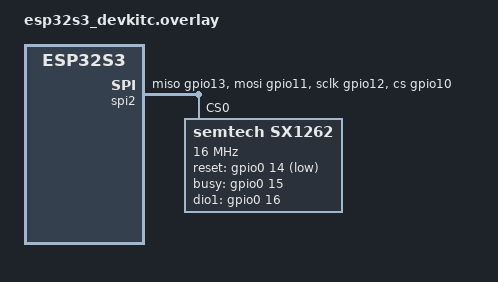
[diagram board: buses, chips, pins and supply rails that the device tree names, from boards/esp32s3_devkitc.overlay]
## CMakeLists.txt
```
# SPDX-License-Identifier: MIT

cmake_minimum_required(VERSION 3.20.0)

find_package(Zephyr REQUIRED HINTS $ENV{ZEPHYR_BASE})
project(aether_basic)

if(CONF_FILE MATCHES "prj_minimal.conf")
    target_sources(app PRIVATE src/main_minimal.c)
elseif(CONF_FILE MATCHES "prj_heymac.conf")
    target_sources(app PRIVATE src/main_heymac.c)
else()
    target_sources(app PRIVATE src/main.c)
endif()
```

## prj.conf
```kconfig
# Basic Zephyr configuration
CONFIG_MAIN_STACK_SIZE=2048
CONFIG_SYSTEM_WORKQUEUE_STACK_SIZE=2048

# Networking core
CONFIG_NETWORKING=y
CONFIG_NET_L2_CUSTOM=y

# Enable HeyMac Layer 2
CONFIG_NET_L2_HEYMAC=y

# Enable Æther mesh networking
CONFIG_AETHER_MESH=y

# Enable LoRa driver integration
CONFIG_AETHER_LORA=y
CONFIG_AETHER_LORA_TX_POWER=5
CONFIG_AETHER_LORA_BW=0
CONFIG_AETHER_LORA_SF=10
CONFIG_AETHER_LORA_CR=1

# LoRa driver with SX126X support (but disable LoRaWAN)
CONFIG_LORA=y
CONFIG_LORA_SX126X=y
CONFIG_LORA_INIT_PRIORITY=80
CONFIG_SPI=y

# Explicitly disable LoRaWAN subsystem 
CONFIG_LORAWAN=n

# ESP32-S3 specific thread stack sizes
CONFIG_AETHER_RX_STACK_SIZE=4096
CONFIG_AETHER_TX_STACK_SIZE=4096

# Shell support for debugging
CONFIG_SHELL=y
CONFIG_AETHER_SHELL=y
CONFIG_DEVICE_SHELL=y

# Logging
CONFIG_LOG=y
CONFIG_LOG_MODE_IMMEDIATE=y
CONFIG_NET_LOG=y
CONFIG_NET_L2_HEYMAC_LOG_LEVEL=4
CONFIG_AETHER_MESH_LOG_LEVEL=4
CONFIG_AETHER_LORA_LOG_LEVEL=4
CONFIG_LORA_LOG_LEVEL_DBG=y

# Network interface debugging
CONFIG_NET_IF_LOG_LEVEL_DBG=y

# GPIO for reset/control pins
CONFIG_GPIO=y

# Optional: Enable more debug features
# CONFIG_DEBUG=y
# CONFIG_ASSERT=y
# CONFIG_THREAD_MONITOR=y
# CONFIG_THREAD_NAME=y
# CONFIG_THREAD_STACK_INFO=y
```

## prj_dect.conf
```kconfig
# DECT NR+ PHY build of the Æther basic sample (nRF9151 DK / Thingy:91 X).
# Build: west build -b nrf9151dk/nrf9151/ns -- -DCONF_FILE=prj_dect.conf
#
# The DECT NR+ PHY operates on regulated channels. Only enable a carrier if you are
# permitted to operate on the DECT band and can meet local access rules.

# Basic Zephyr configuration
CONFIG_MAIN_STACK_SIZE=4096
CONFIG_SYSTEM_WORKQUEUE_STACK_SIZE=2048
CONFIG_FPU=y
CONFIG_ASSERT=y
CONFIG_HEAP_MEM_POOL_SIZE=16384

# Networking core + custom L2. The Æther mesh is a custom L2 (HeyMac), not
# IP-routed, but the net stack still requires a packet protocol to be selected
# (net_pkt.c errors otherwise). So leave IPv6 enabled but turn off its
# housekeeping (Neighbor Discovery / Router Solicitation / DAD / MLD) so it
# stays silent and doesn't waste DECT airtime.
CONFIG_NETWORKING=y
CONFIG_NET_L2_CUSTOM=y
CONFIG_NET_IPV6_ND=n
CONFIG_NET_IPV6_DAD=n
CONFIG_NET_IPV6_MLD=n

# net_pkt / net_buf pools
CONFIG_NET_PKT_RX_COUNT=8
CONFIG_NET_PKT_TX_COUNT=8
CONFIG_NET_BUF_RX_COUNT=16
CONFIG_NET_BUF_TX_COUNT=16

# HeyMac L2 + Æther mesh
CONFIG_NET_L2_HEYMAC=y
CONFIG_AETHER_MESH=y

# DECT NR+ PHY driver integration.
# Carrier 1677 is a common EU value; set it per your region (1711 is common US).
CONFIG_AETHER_DECT=y
CONFIG_AETHER_DECT_CARRIER=1677
CONFIG_AETHER_DECT_TX_POWER=11
CONFIG_AETHER_DECT_MCS=1
# Absorb start-up TX bursts so net bring-up doesn't overflow the queue.
CONFIG_AETHER_DECT_TX_QUEUE_SIZE=8

# DECT NR+ PHY modem
CONFIG_NRF_MODEM_LIB=y
CONFIG_NRF_MODEM_LINK_BINARY_DECT_PHY=y
CONFIG_MODEM_ANTENNA=n
CONFIG_HWINFO=y

# Non-secure target: build as a non-secure image with TF-M (minimal profile)
CONFIG_TFM_PROFILE_TYPE_MINIMAL=y

# Shell for debugging. The sample registers the 'aether' command group (chat,
# status, send) in main.c, and the DECT driver registers the 'dect' group, so
# the module's own AETHER_SHELL is left off to avoid a duplicate 'aether' root.
CONFIG_SHELL=y
CONFIG_AETHER_SHELL=n
CONFIG_DEVICE_SHELL=y

# Logging. INF keeps the milestones (PHY ready, mesh ready, chat, election);
# DBG was very noisy (the DECT RX window logs once per ~200 ms cycle).
CONFIG_LOG=y
CONFIG_NET_L2_HEYMAC_LOG_LEVEL=3
CONFIG_AETHER_MESH_LOG_LEVEL=3
CONFIG_AETHER_DECT_LOG_LEVEL=3
```

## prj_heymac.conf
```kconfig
# Basic Zephyr configuration
CONFIG_MAIN_STACK_SIZE=2048
CONFIG_SYSTEM_WORKQUEUE_STACK_SIZE=2048

# SX126x driver
CONFIG_LORA=y
CONFIG_LORA_SX126X=y
CONFIG_LORA_INIT_PRIORITY=80
CONFIG_SPI=y

# Shell support for debugging
CONFIG_SHELL=y
CONFIG_DEVICE_SHELL=y

# Logging
CONFIG_LOG=y
CONFIG_LOG_MODE_IMMEDIATE=y
CONFIG_LORA_LOG_LEVEL_DBG=y

# GPIO for reset/control pins
CONFIG_GPIO=y
```

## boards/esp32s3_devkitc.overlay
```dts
/*
 * Copyright (c) 2025 Æther authors
 *
 * SPDX-License-Identifier: Apache-2.0
 */

/ {
	chosen {
		zephyr,lora = &sx1262;
	};
};

/* Configure SPI2 with ESP32-S3 GPIO matrix */
&spi2 {
	status = "okay";
	
	/* ESP32-S3 typical SPI pins - adjust to match your wiring */
	pinctrl-0 = <&spi2_miso_gpio13 &spi2_mosi_gpio11 
		     &spi2_sclk_gpio12 &spi2_cs_gpio10>;
	pinctrl-names = "default";
	
	/* Attach the SX1262 to this SPI bus */
	#address-cells = <1>;
	#size-cells = <0>;
	
	sx1262: sx1262@0 {
		compatible = "semtech,sx1262";
		status = "okay";
		spi-max-frequency = <16000000>;
		reg = <0>;
		
		reset-gpios = <&gpio0 14 GPIO_ACTIVE_LOW>;
		busy-gpios = <&gpio0 15 GPIO_ACTIVE_HIGH>;
		dio1-gpios = <&gpio0 16 GPIO_ACTIVE_HIGH>;
		
		power-amplifier-output = "pa-boost";
	};
};
```

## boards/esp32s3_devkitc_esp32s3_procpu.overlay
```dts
/*
 * Copyright (c) 2025 Æther authors
 *
 * SPDX-License-Identifier: MIT
 */

/ {
	chosen {
		zephyr,lora = &sx1262;
	};
	
	aliases {
		lora0 = &sx1262;
	};
};

/* SPI2 pinctrl configuration */
&pinctrl {
	spi2_default: spi2_default {
		group1 {
			pinmux = <SPIM2_MISO_GPIO13>,
				 <SPIM2_MOSI_GPIO11>,
				 <SPIM2_SCLK_GPIO12>;
		};
	};
};

/* Configure SPI2 with ESP32-S3 GPIO matrix */
&spi2 {
	status = "okay";
	pinctrl-0 = <&spi2_default>;
	pinctrl-names = "default";
	cs-gpios = <&gpio0 10 GPIO_ACTIVE_LOW>;
	
	/* Attach the SX1262 to this SPI bus */
	#address-cells = <1>;
	#size-cells = <0>;
	
	sx1262: sx1262@0 {
		compatible = "semtech,sx1262";
		status = "okay";
		spi-max-frequency = <8000000>;
		reg = <0>;
		
		/* SX1262 control pins */
		reset-gpios = <&gpio0 9 GPIO_ACTIVE_LOW>;
		busy-gpios = <&gpio0 3 GPIO_ACTIVE_HIGH>;
		dio1-gpios = <&gpio0 8 GPIO_ACTIVE_HIGH>;
		
		/* Antenna switch control - disabled for testing */
		/* rx-enable-gpios = <&gpio0 19 GPIO_ACTIVE_HIGH>; */
	};
};
```

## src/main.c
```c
/*
 * Copyright (c) 2025 Æther Authors
 *
 * SPDX-License-Identifier: MIT
 */

#include <zephyr/kernel.h>
#include <zephyr/net/net_if.h>
#include <zephyr/net/heymac.h>
#include <zephyr/net/aether_mesh.h>
#include <zephyr/net/honr.h>
#include <zephyr/logging/log.h>
#include <zephyr/shell/shell.h>

LOG_MODULE_REGISTER(aether_basic, LOG_LEVEL_INF);

#include <string.h>
#include <stdio.h>
#include <zephyr/shell/shell_uart.h>

/* Mesh context, for detailed status (defined in aether_mesh.c). */
extern struct aether_mesh_ctx *g_mesh_ctx;

static struct net_if *aether_iface;

/* Per-node shell prompt, e.g. "ae 1a:2b> ", set once the address is known. */
static char node_prompt[16];

static const char *heymac_state_name(enum heymac_state state)
{
	switch (state) {
	case HEYMAC_STATE_INITIAL:      return "INITIAL";
	case HEYMAC_STATE_INITIALIZING: return "INITIALIZING";
	case HEYMAC_STATE_LURKING:      return "LURKING";
	case HEYMAC_STATE_BEACONING:    return "BEACONING";
	case HEYMAC_STATE_LINKING:      return "LINKING";
	default:                        return "?";
	}
}

/* Party-line broadcast address: every node receives and re-floods. */
static const uint8_t aether_bcast[6] = {0xff, 0xff, 0xff, 0xff, 0xff, 0xff};

/* Party-line chat receive callback: print each incoming message to the
 * console. Runs in the mesh RX thread; printk is used so the line appears
 * regardless of which shell instance (if any) issued a command.
 */
static void chat_recv_cb(struct net_if *iface, const uint8_t src[6],
			 const uint8_t *data, size_t len, void *user_data)
{
	ARG_UNUSED(iface);
	ARG_UNUSED(user_data);

	/* Identify the talker by the last two address bytes. */
	printk("\n<chat %02x:%02x> %.*s\n", src[4], src[5], (int)len, (const char *)data);
}

static void print_status(void)
{
	struct heymac_addr addr;
	int net_id;
	int neighbor_count, route_count;

	if (!aether_iface) {
		LOG_ERR("Æther interface not available");
		return;
	}

	/* Get HeyMac status */
	if (heymac_get_addr(aether_iface, &addr) == 0) {
		if (heymac_addr_is_short(&addr)) {
			LOG_INF("Local address: %02x:%02x (short)",
				addr.short_addr[0], addr.short_addr[1]);
		} else {
			LOG_INF("Local address: %02x:%02x:%02x:%02x:%02x:%02x (long)",
				addr.long_addr[0], addr.long_addr[1], addr.long_addr[2],
				addr.long_addr[3], addr.long_addr[4], addr.long_addr[5]);
		}
	}

	net_id = heymac_get_network_id(aether_iface);
	if (net_id >= 0) {
		LOG_INF("Network ID: 0x%04x", net_id);
	}

	/* Get mesh status */
	neighbor_count = aether_mesh_get_neighbor_count(aether_iface);
	route_count = aether_mesh_get_route_count(aether_iface);
	
	LOG_INF("Mesh status: %d neighbors, %d routes", neighbor_count, route_count);
}

static void periodic_hello(void)
{
	if (aether_iface) {
		aether_mesh_send_hello(aether_iface);
		LOG_DBG("Periodic hello sent");
	}
}

int main(void)
{
	int ret;
	uint32_t hello_count = 0;

	/* Very early debug to test logging */
	printk("=== MAIN STARTING ===\n");
	LOG_INF("Æther Basic Node Starting");

	/* Wait for network interface to be available */
	aether_iface = net_if_get_default();
	if (!aether_iface) {
		LOG_ERR("No network interface available");
		
		/* List all available interfaces for debugging */
		int count = 0;
		STRUCT_SECTION_FOREACH(net_if, iface) {
			LOG_INF("Found interface %d: %p", count, iface);
			count++;
		}
		LOG_INF("Total interfaces found: %d", count);
		
		return -ENODEV;
	}
	
	LOG_INF("Found default interface: %p", aether_iface);

	/* Bring up the network interface */
	LOG_INF("Bringing up network interface...");
	net_if_up(aether_iface);
	
	/* Wait for interface to be up */
	int attempts = 0;
	while (!net_if_is_up(aether_iface) && attempts < 20) {
		LOG_INF("Waiting for network interface... (attempt %d)", attempts + 1);
		k_sleep(K_MSEC(500));
		attempts++;
	}
	
	if (!net_if_is_up(aether_iface)) {
		LOG_ERR("Failed to bring up network interface after %d attempts", attempts);
		return -ENETDOWN;
	}

	LOG_INF("Network interface is up");

	/* Initialize Æther mesh */
	ret = aether_mesh_init(aether_iface, 0x915E);  /* Use default network ID */
	if (ret < 0) {
		LOG_ERR("Failed to initialize Æther mesh: %d", ret);
		return ret;
	}

	LOG_INF("Æther mesh network ready");

	/* Print received party-line messages to the console. */
	aether_mesh_register_recv_callback(aether_iface, chat_recv_cb, NULL);
	LOG_INF("Party-line chat ready: type 'aether chat <message>'");

	/* Tag the shell prompt with this node's address so the three terminals
	 * are easy to tell apart. The tag matches the talker ID shown in chat.
	 */
	if (g_mesh_ctx) {
		const struct shell *sh = shell_backend_uart_get_ptr();

		snprintf(node_prompt, sizeof(node_prompt), "ae %02x:%02x> ",
			 g_mesh_ctx->local_addr[4], g_mesh_ctx->local_addr[5]);
		if (sh) {
			shell_prompt_change(sh, node_prompt);
		}
	}

	/* Print initial status */
	print_status();

	/* Main application loop */
	while (1) {
		/* Print status every 10 hello intervals */
		if ((hello_count % 10) == 0) {
			print_status();
		}

		/* Send periodic hello */
		periodic_hello();
		hello_count++;

		/* Sleep until next hello interval */
		k_sleep(K_SECONDS(CONFIG_AETHER_HELLO_INTERVAL));
	}

	return 0;
}

/* Shell commands for testing */
#ifdef CONFIG_SHELL

static int cmd_aether_status(const struct shell *sh, size_t argc, char **argv)
{
	struct aether_mesh_ctx *ctx = g_mesh_ctx;
	struct heymac_context *hctx;

	ARG_UNUSED(argc);
	ARG_UNUSED(argv);

	if (!aether_iface || !ctx) {
		shell_error(sh, "Æther interface not available");
		return -ENODEV;
	}

	shell_print(sh, "=== Æther Node Status ===");
	shell_print(sh, "  addr   %02x:%02x:%02x:%02x:%02x:%02x",
		    ctx->local_addr[0], ctx->local_addr[1], ctx->local_addr[2],
		    ctx->local_addr[3], ctx->local_addr[4], ctx->local_addr[5]);
	shell_print(sh, "  net_id 0x%04x", ctx->mesh_net_id);

	hctx = net_if_l2_data(aether_iface);
	if (hctx) {
		shell_print(sh, "  state  %s", heymac_state_name(hctx->state));
		shell_print(sh, "  rx/tx  %u/%u pkts, %u/%u err",
			    hctx->rx_packets, hctx->tx_packets,
			    hctx->rx_errors, hctx->tx_errors);
		shell_print(sh, "  beacon tx %u, rx %u", hctx->tx_beacons, hctx->rx_beacons);
	}

	/* Neighbors with link quality and recency. */
	shell_print(sh, "  neighbors %d", aether_mesh_get_neighbor_count(aether_iface));
	for (int i = 0; i < CONFIG_AETHER_MAX_NEIGHBORS; i++) {
		if (ctx->neighbors[i].active) {
			uint32_t age = (k_uptime_get_32() - ctx->neighbors[i].last_seen) / 1000;

			shell_print(sh, "    %02x:%02x:%02x:%02x:%02x:%02x  rssi %d  %us ago",
				    ctx->neighbors[i].addr[0], ctx->neighbors[i].addr[1],
				    ctx->neighbors[i].addr[2], ctx->neighbors[i].addr[3],
				    ctx->neighbors[i].addr[4], ctx->neighbors[i].addr[5],
				    ctx->neighbors[i].rssi, age);
		}
	}

	/* Routes. */
	shell_print(sh, "  routes %d", aether_mesh_get_route_count(aether_iface));
	for (int i = 0; i < CONFIG_AETHER_MAX_ROUTES; i++) {
		if (ctx->routes[i].active) {
			shell_print(sh, "    %02x:%02x:%02x:%02x:%02x:%02x  via %02x:%02x  hops %d",
				    ctx->routes[i].dest[0], ctx->routes[i].dest[1],
				    ctx->routes[i].dest[2], ctx->routes[i].dest[3],
				    ctx->routes[i].dest[4], ctx->routes[i].dest[5],
				    ctx->routes[i].next_hop[4], ctx->routes[i].next_hop[5],
				    ctx->routes[i].hop_count);
		}
	}

	shell_print(sh, "  hello  sent %u, recv %u", ctx->hello_sent, ctx->hello_received);
	shell_print(sh, "  fwd %u, drop %u", ctx->packets_forwarded, ctx->packets_dropped);

	return 0;
}

static int cmd_aether_hello(const struct shell *sh, size_t argc, char **argv)
{
	ARG_UNUSED(argc);
	ARG_UNUSED(argv);

	if (!aether_iface) {
		shell_error(sh, "Æther interface not available");
		return -ENODEV;
	}

	int ret = aether_mesh_send_hello(aether_iface);
	if (ret < 0) {
		shell_error(sh, "Failed to send hello: %d", ret);
		return ret;
	}

	shell_print(sh, "Hello message sent");
	return 0;
}

static int cmd_aether_send(const struct shell *sh, size_t argc, char **argv)
{
	uint8_t dst[6];
	const char *message;
	int ret;

	if (argc != 3) {
		shell_error(sh, "Usage: aether send <dst_addr> <message>");
		shell_print(sh, "Example: aether send 01:02:03:04:05:06 \"Hello World\"");
		return -EINVAL;
	}

	if (!aether_iface) {
		shell_error(sh, "Æther interface not available");
		return -ENODEV;
	}

	/* Parse destination address */
	ret = sscanf(argv[1], "%02x:%02x:%02x:%02x:%02x:%02x",
		     (unsigned int *)&dst[0], (unsigned int *)&dst[1], 
		     (unsigned int *)&dst[2], (unsigned int *)&dst[3],
		     (unsigned int *)&dst[4], (unsigned int *)&dst[5]);
	if (ret != 6) {
		shell_error(sh, "Invalid address format. Use: XX:XX:XX:XX:XX:XX");
		return -EINVAL;
	}

	message = argv[2];
	if (strlen(message) > CONFIG_AETHER_MAX_PAYLOAD) {
		shell_error(sh, "Message too long (max %d bytes)", CONFIG_AETHER_MAX_PAYLOAD);
		return -EMSGSIZE;
	}

	/* Send mesh message */
	ret = aether_mesh_send(aether_iface, dst, (const uint8_t *)message, 
			       strlen(message), AETHER_PRIORITY_NORMAL);
	if (ret < 0) {
		shell_error(sh, "Failed to send message: %d", ret);
		return ret;
	}

	shell_print(sh, "Message sent to %02x:%02x:%02x:%02x:%02x:%02x",
		    dst[0], dst[1], dst[2], dst[3], dst[4], dst[5]);
	return 0;
}

static int cmd_aether_info(const struct shell *sh, size_t argc, char **argv)
{
	struct aether_mesh_ctx *ctx = g_mesh_ctx;
	struct heymac_context *hctx;

	ARG_UNUSED(argc);
	ARG_UNUSED(argv);

	if (!aether_iface || !ctx) {
		shell_error(sh, "Æther interface not available");
		return -ENODEV;
	}

	hctx = net_if_l2_data(aether_iface);

	shell_print(sh, "=== Æther Parameters ===");
	shell_print(sh, "  addr        %02x:%02x:%02x:%02x:%02x:%02x",
		    ctx->local_addr[0], ctx->local_addr[1], ctx->local_addr[2],
		    ctx->local_addr[3], ctx->local_addr[4], ctx->local_addr[5]);
	shell_print(sh, "  net_id      0x%04x", ctx->mesh_net_id);
	shell_print(sh, "  mac state   %s", hctx ? heymac_state_name(hctx->state) : "?");
#if defined(CONFIG_AETHER_ROUTING_HONR)
	shell_print(sh, "  honr addr   %04x (%s)", ctx->honr_addr,
		    ctx->honr_joined ? "joined" : "unjoined");
#endif
	shell_print(sh, "  ttl         %d hops", CONFIG_AETHER_DEFAULT_TTL);
	shell_print(sh, "  hello int   %d s", CONFIG_AETHER_HELLO_INTERVAL);
	shell_print(sh, "  beacon int  %d ms", CONFIG_HEYMAC_BEACON_INTERVAL_MS);
	shell_print(sh, "  nbr timeout %d s", CONFIG_AETHER_NEIGHBOR_TIMEOUT);
	shell_print(sh, "  route tmout %d s", CONFIG_AETHER_ROUTE_TIMEOUT);
	shell_print(sh, "  max payload %d bytes", CONFIG_AETHER_MAX_PAYLOAD);
	shell_print(sh, "  max nbrs    %d", CONFIG_AETHER_MAX_NEIGHBORS);
	shell_print(sh, "  max routes  %d", CONFIG_AETHER_MAX_ROUTES);

	return 0;
}

static int cmd_aether_chat(const struct shell *sh, size_t argc, char **argv)
{
	char msg[CONFIG_AETHER_MAX_PAYLOAD + 1];
	size_t off = 0;
	int ret;

	if (argc < 2) {
		shell_error(sh, "Usage: aether chat <message>");
		return -EINVAL;
	}

	if (!aether_iface) {
		shell_error(sh, "Æther interface not available");
		return -ENODEV;
	}

	/* Rejoin the shell-split words into one message. */
	for (size_t i = 1; i < argc; i++) {
		size_t word_len = strlen(argv[i]);

		if (off + word_len + (i > 1 ? 1 : 0) >= sizeof(msg)) {
			shell_error(sh, "Message too long (max %d bytes)",
				    CONFIG_AETHER_MAX_PAYLOAD);
			return -EMSGSIZE;
		}
		if (i > 1) {
			msg[off++] = ' ';
		}
		memcpy(&msg[off], argv[i], word_len);
		off += word_len;
	}
	msg[off] = '\0';

	/* Party-line: broadcast to every node in the mesh. */
	ret = aether_mesh_send(aether_iface, aether_bcast, (const uint8_t *)msg, off,
			       AETHER_PRIORITY_NORMAL);
	if (ret < 0) {
		shell_error(sh, "chat send failed: %d", ret);
		return ret;
	}

	shell_print(sh, "<you> %s", msg);
	return 0;
}

#if defined(CONFIG_AETHER_ROUTING_HONR)
/* Consolidated view of this node's place in the HONR tree: its address, depth
 * (rank), parent, and the children it has handed addresses to. Run it on every
 * node to assemble the whole tree by hand.
 */
static int cmd_aether_tree(const struct shell *sh, size_t argc, char **argv)
{
	struct aether_mesh_ctx *ctx = g_mesh_ctx;
	uint16_t addr;
	uint8_t rank;
	int children = 0;

	ARG_UNUSED(argc);
	ARG_UNUSED(argv);

	if (!aether_iface || !ctx) {
		shell_error(sh, "Æther interface not available");
		return -ENODEV;
	}

	addr = ctx->honr_addr;
	rank = honr_rank(addr);

	shell_print(sh, "=== HONR Tree (local view) ===");
	shell_print(sh, "  node     %04x  rank %u (depth)  %s", addr, rank,
		    honr_is_root(addr) ? "ROOT" :
		    (ctx->honr_joined ? "joined" : "unjoined"));
	shell_print(sh, "  node_id  %08x  (lowest id wins the root election)",
		    aether_honr_node_id());

	if (honr_is_root(addr)) {
		shell_print(sh, "  parent   (none - root)");
	} else if (ctx->honr_joined) {
		shell_print(sh, "  parent   %04x", honr_parent(addr));
	} else {
		shell_print(sh, "  parent   (none - not joined yet)");
	}

	for (unsigned int n = HONR_CHILD_MIN; n <= HONR_CHILD_MAX; n++) {
		if (ctx->honr_child_bitmap & BIT(n)) {
			shell_print(sh, "  child    %04x",
				    honr_set_nibble(addr, rank, (uint8_t)n));
			children++;
		}
	}
	if (children == 0) {
		shell_print(sh, "  children (none)");
	} else {
		shell_print(sh, "  children %d of %d slots used", children,
			    (int)(HONR_CHILD_MAX - HONR_CHILD_MIN + 1));
	}

	return 0;
}
#endif /* CONFIG_AETHER_ROUTING_HONR */

SHELL_STATIC_SUBCMD_SET_CREATE(aether_cmds,
	SHELL_CMD_ARG(info, NULL, "Show Æther parameters and MAC state", cmd_aether_info, 1, 0),
	SHELL_CMD_ARG(status, NULL, "Show Æther node status", cmd_aether_status, 1, 0),
#if defined(CONFIG_AETHER_ROUTING_HONR)
	SHELL_CMD_ARG(tree, NULL, "Show HONR tree position (parent/children/rank)",
		      cmd_aether_tree, 1, 0),
#endif
	SHELL_CMD_ARG(hello, NULL, "Send hello message", cmd_aether_hello, 1, 0),
	SHELL_CMD_ARG(chat, NULL, "Broadcast a party-line message", cmd_aether_chat, 2, 20),
	SHELL_CMD_ARG(send, NULL, "Send mesh message to <addr>", cmd_aether_send, 3, 0),
	SHELL_SUBCMD_SET_END
);

SHELL_CMD_REGISTER(aether, &aether_cmds, "Æther mesh commands", NULL);

#endif /* CONFIG_SHELL */
```

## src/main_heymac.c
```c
/*
 * Copyright (c) 2025 Æther Authors
 *
 * SPDX-License-Identifier: MIT
 */

#include <zephyr/kernel.h>
#include <zephyr/device.h>
#include <zephyr/drivers/lora.h>
#include <zephyr/logging/log.h>
#include <string.h>

LOG_MODULE_REGISTER(heymac_test, LOG_LEVEL_INF);

/* HeyMac Protocol Constants */
#define HEYMAC_NET_ID_915       0x915E  /* Network ID for 915MHz */
#define HEYMAC_FRAME_TYPE_DATA  0x80    /* Data frame type */
#define HEYMAC_ADDR_SHORT       0x40    /* Short address flag */

/* HeyMac Frame Structure (simplified) */
struct heymac_frame {
    uint16_t net_id;      /* Network ID (big endian) */
    uint8_t frame_type;   /* Frame type and flags */
    uint16_t dst_addr;    /* Destination address (big endian) */
    uint16_t src_addr;    /* Source address (big endian) */
    uint8_t payload[];    /* Payload data */
} __packed;

int main(void)
{
    const struct device *lora_dev;
    struct lora_modem_config config;
    int ret;
    int counter = 0;

    LOG_INF("HeyMac Test Starting");

    /* Get LoRa device */
    lora_dev = DEVICE_DT_GET(DT_ALIAS(lora0));
    if (!device_is_ready(lora_dev)) {
        LOG_ERR("LoRa device not ready");
        return -ENODEV;
    }

    LOG_INF("LoRa device ready");

    /* Configure LoRa modem with working settings */
    config.frequency = 915000000;
    config.bandwidth = BW_125_KHZ;
    config.datarate = SF_10;  /* SF10 works reliably */
    config.coding_rate = CR_4_5;
    config.preamble_len = 8;
    config.tx_power = 5;  /* Safe power level */
    config.tx = true;

    ret = lora_config(lora_dev, &config);
    if (ret < 0) {
        LOG_ERR("Failed to configure LoRa: %d", ret);
        return ret;
    }

    LOG_INF("LoRa configured:");
    LOG_INF("  Frequency: %u Hz", config.frequency);
    LOG_INF("  Bandwidth: %d", config.bandwidth);
    LOG_INF("  Spreading Factor: %d", config.datarate);
    LOG_INF("  Coding Rate: %d", config.coding_rate);
    LOG_INF("  TX Power: %d dBm", config.tx_power);

    /* Main loop - send HeyMac frames */
    while (1) {
        uint8_t frame_buffer[64];
        struct heymac_frame *frame = (struct heymac_frame *)frame_buffer;
        const char *message = "Hello HeyMac!";
        size_t payload_len = strlen(message);
        size_t frame_len = sizeof(struct heymac_frame) + payload_len;

        /* Construct HeyMac frame */
        frame->net_id = htons(HEYMAC_NET_ID_915);
        frame->frame_type = HEYMAC_FRAME_TYPE_DATA | HEYMAC_ADDR_SHORT;
        frame->dst_addr = htons(0xFFFF);  /* Broadcast */
        frame->src_addr = htons(0x0001);  /* Our address */
        memcpy(frame->payload, message, payload_len);

        LOG_INF("Sending HeyMac frame %d:", counter);
        LOG_INF("  Net ID: 0x%04X", ntohs(frame->net_id));
        LOG_INF("  Frame Type: 0x%02X", frame->frame_type);
        LOG_INF("  Dst Addr: 0x%04X", ntohs(frame->dst_addr));
        LOG_INF("  Src Addr: 0x%04X", ntohs(frame->src_addr));
        LOG_INF("  Payload: %s", message);
        LOG_INF("  Frame Length: %zu bytes", frame_len);

        /* Send frame */
        ret = lora_send(lora_dev, frame_buffer, frame_len);
        if (ret < 0) {
            LOG_ERR("Failed to send frame %d: %d", counter, ret);
        } else {
            LOG_INF("Successfully sent HeyMac frame %d", counter);
            counter++;
        }

        /* Wait before next transmission */
        k_sleep(K_SECONDS(10));
    }

    return 0;
}
```

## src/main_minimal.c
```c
/*
 * Copyright (c) 2025 Æther Authors
 *
 * SPDX-License-Identifier: MIT
 */

#include <zephyr/kernel.h>
#include <zephyr/device.h>
#include <zephyr/drivers/lora.h>
#include <zephyr/logging/log.h>

LOG_MODULE_REGISTER(lora_test, LOG_LEVEL_INF);

int main(void)
{
	const struct device *lora_dev;
	struct lora_modem_config config;
	int ret;

	LOG_INF("LoRa Test Starting");

	/* Get LoRa device */
	lora_dev = DEVICE_DT_GET(DT_ALIAS(lora0));
	if (!device_is_ready(lora_dev)) {
		LOG_ERR("LoRa device not ready");
		return -ENODEV;
	}

	LOG_INF("LoRa device ready");

	/* Configure LoRa modem */
	config.frequency = 915000000;
	config.bandwidth = BW_125_KHZ;
	config.datarate = SF_10;  /* SF10 works reliably, SF7 was failing */
	config.coding_rate = CR_4_5;
	config.preamble_len = 8;
	config.tx_power = 5;  /* Safe low power that works */
	config.tx = true;

	ret = lora_config(lora_dev, &config);
	if (ret < 0) {
		LOG_ERR("Failed to configure LoRa: %d", ret);
		return ret;
	}

	LOG_INF("LoRa configured:");
	LOG_INF("  Frequency: %u Hz", config.frequency);
	LOG_INF("  Bandwidth: %d", config.bandwidth);
	LOG_INF("  Spreading Factor: %d", config.datarate);
	LOG_INF("  Coding Rate: %d", config.coding_rate);
	LOG_INF("  TX Power: %d dBm", config.tx_power);
	
	/* Let's test if the antenna switch is actually working */
	LOG_INF("Testing antenna switching...");
	
	/* Try to receive first to test RX antenna switching */
	config.tx = false;
	ret = lora_config(lora_dev, &config);
	if (ret < 0) {
		LOG_ERR("Failed to configure for RX: %d", ret);
	} else {
		LOG_INF("RX mode configuration successful");
		k_sleep(K_MSEC(100));  /* Brief delay */
	}
	
	/* Switch back to TX mode */
	config.tx = true;
	ret = lora_config(lora_dev, &config);
	if (ret < 0) {
		LOG_ERR("Failed to switch back to TX: %d", ret);
	} else {
		LOG_INF("TX mode configuration successful");
	}

	/* PA reset sequence - helps clear protection states */
	LOG_INF("Performing PA reset sequence...");
	config.tx_power = 0;
	ret = lora_config(lora_dev, &config);
	if (ret < 0) {
		LOG_WRN("PA reset step 1 failed: %d", ret);
	}
	k_sleep(K_MSEC(100));
	
	config.tx_power = 5;  /* Back to operating power */
	ret = lora_config(lora_dev, &config);
	if (ret < 0) {
		LOG_ERR("Failed to configure LoRa after PA reset: %d", ret);
		return ret;
	}
	LOG_INF("PA reset sequence complete");

	/* Main loop - send test packets */
	uint8_t tx_data[] = "Hello LoRa!";
	int counter = 0;
	int consecutive_failures = 0;

	while (1) {
		LOG_INF("Attempting to send packet %d", counter);
		
		/* Send packet */
		ret = lora_send(lora_dev, tx_data, sizeof(tx_data));
		if (ret < 0) {
			consecutive_failures++;
			LOG_ERR("Failed to send packet %d: %d (consecutive failures: %d)", 
				counter, ret, consecutive_failures);
			
			/* If we have many failures, try different approaches */
			if (consecutive_failures == 3) {
				LOG_INF("TX might be damaged. Testing RX mode...");
				config.tx = false;  /* Switch to RX to test if receive works */
				ret = lora_config(lora_dev, &config);
				if (ret < 0) {
					LOG_ERR("Failed to configure RX mode: %d", ret);
				} else {
					LOG_INF("RX mode configured. If this works, PA may be damaged.");
					/* Wait a bit in RX mode */
					k_sleep(K_SECONDS(2));
					/* Switch back to TX */
					config.tx = true;
					config.tx_power = -10;  /* Try -10 dBm */
					lora_config(lora_dev, &config);
					LOG_INF("Switched back to TX at %d dBm", config.tx_power);
				}
			} else if (consecutive_failures == 6) {
				LOG_INF("Still failing. Trying minimum TX power...");
				config.tx_power = 0;  /* Try 0 dBm */
				ret = lora_config(lora_dev, &config);
				if (ret < 0) {
					LOG_ERR("Failed to reconfigure with min power: %d", ret);
				} else {
					LOG_INF("Reconfigured with TX power: %d dBm", config.tx_power);
				}
			} else if (consecutive_failures == 9) {
				LOG_INF("Still failing. Trying SF7 (was previously problematic)...");
				config.datarate = SF_7;  /* Try SF7 to see if it works now */
				config.tx_power = 5;
				ret = lora_config(lora_dev, &config);
				if (ret < 0) {
					LOG_ERR("Failed to reconfigure with SF7: %d", ret);
				} else {
					LOG_INF("Reconfigured with SF7 and TX power: %d dBm", config.tx_power);
				}
			} else {
				/* Try basic reconfigure */
				LOG_INF("Reconfiguring LoRa...");
				ret = lora_config(lora_dev, &config);
				if (ret < 0) {
					LOG_ERR("Failed to reconfigure: %d", ret);
				}
			}
		} else {
			LOG_INF("Successfully sent packet %d", counter);
			counter++;
			consecutive_failures = 0;  /* Reset failure counter on success */
		}

		/* Wait before next transmission */
		k_sleep(K_SECONDS(5));
	}

	return 0;
}
```
